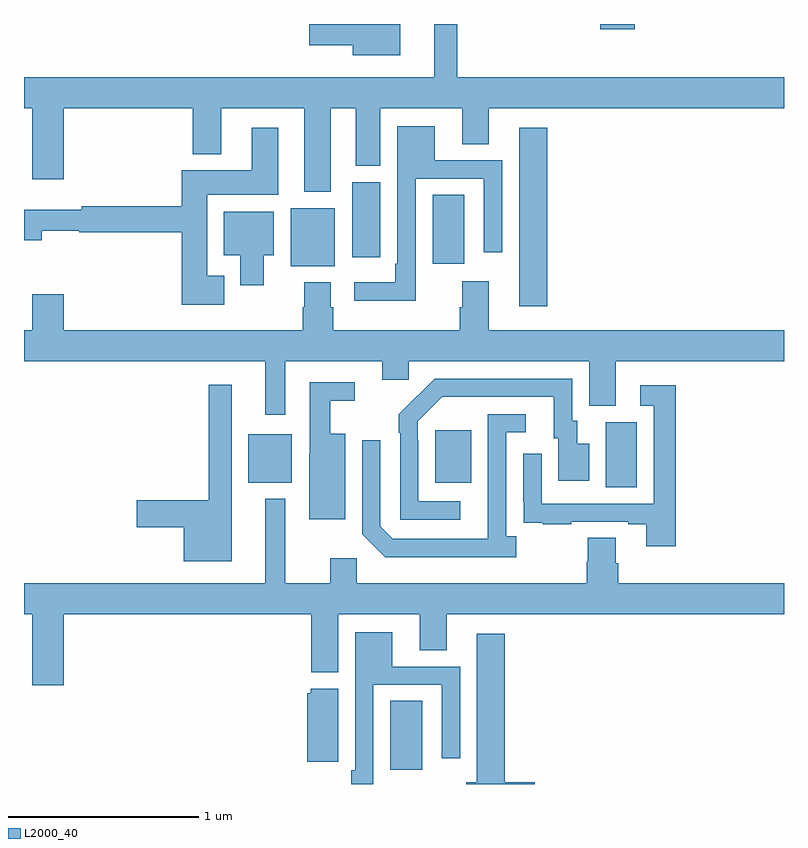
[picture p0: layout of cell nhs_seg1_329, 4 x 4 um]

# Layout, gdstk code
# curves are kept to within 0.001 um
import gdstk
lib = gdstk.Library(unit=1e-6, precision=1e-09)
def R(c, l, rs):  # rectangles x0, y0, x1, y1
    for r in rs: c.add(gdstk.rectangle(r[:2], r[2:], *l))
def P(c, l, *ps):  # polygons
    for p in ps: c.add(gdstk.Polygon(p, *l))
L2000_40 = (2000, 40)

nhs_seg1_329 = lib.new_cell('nhs_seg1_329')
R(nhs_seg1_329, L2000_40, [(130.928,524.274,131.095,524.636), (132.062,525.76,132.226,526.104), (130.181,525.785,130.408,526.039), (131.165,525.785,131.353,526.06), (131.606,526.713,131.753,527.653), (130.403,526.925,130.636,527.23), (131.15,526.938,131.317,527.3), (130.727,526.971,130.876,527.367), (132.032,528.171,132.215,528.199)])
P(nhs_seg1_329, L2000_40, [(130.981,528.199),(130.5,528.199),(130.5,528.086),(130.73,528.086),(130.73,528.035),(130.981,528.035)],
  [(130.615,527.756),(130.745,527.756),(130.745,527.452),(130.876,527.452),(130.876,527.756),(131.306,527.756),(131.306,527.566),(131.446,527.566),(131.446,527.756),(133,527.756),(133,527.92),(131.281,527.92),(131.281,528.199),(131.159,528.199),(131.159,527.92),(129,527.92),(129,527.756),(129.044,527.756),(129.044,527.382),(129.208,527.382),(129.208,527.756),(129.887,527.756),(129.887,527.513),(130.039,527.513),(130.039,527.756),(130.475,527.756),(130.475,527.315),(130.615,527.315)],
  [(131.061,527.385),(131.421,527.385),(131.421,526.998),(131.517,526.998),(131.517,527.481),(131.161,527.481),(131.161,527.662),(130.965,527.662),(130.965,526.936),(130.953,526.936),(130.953,526.84),(130.737,526.84),(130.737,526.742),(131.061,526.742)],
  [(130.054,526.873),(129.964,526.873),(129.964,527.3),(130.339,527.3),(130.339,527.653),(130.199,527.653),(130.199,527.428),(129.83,527.428),(129.83,527.24),(129.304,527.24),(129.304,527.221),(129,527.221),(129,527.062),(129.094,527.062),(129.094,527.112),(129.29,527.112),(129.29,527.104),(129.83,527.104),(129.83,526.721),(130.054,526.721)],
  [(130.261,526.982),(130.315,526.982),(130.315,527.212),(130.052,527.212),(130.052,526.982),(130.139,526.982),(130.139,526.824),(130.261,526.824)],
  [(130.375,526.424),(130.886,526.424),(130.886,526.326),(131.025,526.326),(131.025,526.424),(131.975,526.424),(131.975,526.189),(132.115,526.189),(132.115,526.424),(133,526.424),(133,526.588),(131.446,526.588),(131.446,526.846),(131.306,526.846),(131.306,526.709),(131.294,526.709),(131.294,526.588),(130.628,526.588),(130.628,526.709),(130.615,526.709),(130.615,526.84),(130.475,526.84),(130.475,526.709),(130.468,526.709),(130.468,526.588),(129.208,526.588),(129.208,526.777),(129.044,526.777),(129.044,526.588),(129,526.588),(129,526.424),(130.271,526.424),(130.271,526.143),(130.375,526.143)],
  [(131.296,525.687),(131.076,525.687),(131.076,526.007),(131.073,526.007),(131.073,526.107),(131.202,526.236),(131.789,526.236),(131.789,526.02),(131.813,526.02),(131.813,525.795),(131.974,525.795),(131.974,525.991),(131.911,525.991),(131.911,526.11),(131.886,526.11),(131.886,526.332),(131.162,526.332),(131.071,526.241),(131.07,526.242),(130.973,526.144),(130.973,526.049),(130.98,526.049),(130.98,525.591),(131.296,525.591)],
  [(130.69,526.042),(130.612,526.042),(130.612,526.217),(130.741,526.217),(130.741,526.314),(130.503,526.314),(130.503,525.938),(130.502,525.938),(130.502,525.593),(130.69,525.593)],
  [(130.093,526.3),(129.972,526.3),(129.972,525.692),(129.594,525.692),(129.594,525.55),(129.842,525.55),(129.842,525.371),(130.093,525.371)],
  [(132.431,526.297),(132.243,526.297),(132.243,526.191),(132.315,526.191),(132.315,525.675),(131.724,525.675),(131.724,525.937),(131.628,525.937),(131.628,525.682),(131.629,525.682),(131.629,525.573),(131.731,525.573),(131.731,525.567),(131.879,525.567),(131.879,525.579),(132.179,525.579),(132.179,525.567),(132.275,525.567),(132.275,525.45),(132.431,525.45)],
  [(131.59,525.502),(131.538,525.502),(131.538,526.05),(131.641,526.05),(131.641,526.146),(131.442,526.146),(131.441,525.489),(130.941,525.489),(130.875,525.555),(130.875,526.009),(130.779,526.009),(130.779,525.513),(130.9,525.392),(131.59,525.392)],
  [(129.208,525.092),(130.511,525.092),(130.511,524.786),(130.654,524.786),(130.654,525.092),(131.084,525.092),(131.084,524.902),(131.224,524.902),(131.224,525.092),(133,525.092),(133,525.256),(132.128,525.256),(132.128,525.362),(132.115,525.362),(132.115,525.494),(131.968,525.494),(131.968,525.369),(131.963,525.369),(131.963,525.256),(130.752,525.256),(130.752,525.388),(130.613,525.388),(130.613,525.256),(130.375,525.256),(130.375,525.7),(130.271,525.7),(130.271,525.256),(129,525.256),(129,525.092),(129.044,525.092),(129.044,524.718),(129.208,524.718)],
  [(130.839,524.721),(131.199,524.721),(131.199,524.334),(131.295,524.334),(131.295,524.817),(130.939,524.817),(130.939,524.998),(130.743,524.998),(130.743,524.272),(130.723,524.272),(130.723,524.199),(130.839,524.199)],
  [(131.689,524.207),(131.531,524.207),(131.531,524.989),(131.384,524.989),(131.384,524.207),(131.328,524.207),(131.328,524.199),(131.689,524.199)],
  [(130.654,524.701),(130.509,524.701),(130.509,524.676),(130.49,524.676),(130.49,524.315),(130.654,524.315)])

lib.write_gds('nhs_seg1_329.gds')
